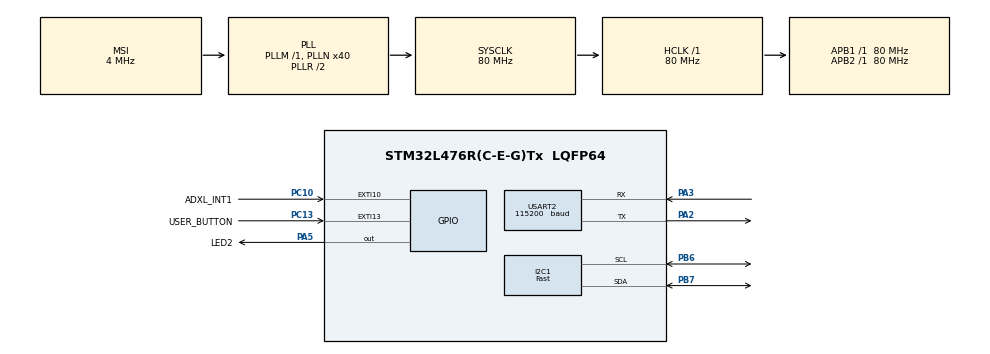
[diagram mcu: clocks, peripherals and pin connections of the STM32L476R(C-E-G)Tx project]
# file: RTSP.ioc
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Dma.I2C1_RX.0.Direction=DMA_PERIPH_TO_MEMORY
Dma.I2C1_RX.0.Instance=DMA1_Channel7
Dma.I2C1_RX.0.MemDataAlignment=DMA_MDATAALIGN_BYTE
Dma.I2C1_RX.0.MemInc=DMA_MINC_ENABLE
Dma.I2C1_RX.0.Mode=DMA_NORMAL
Dma.I2C1_RX.0.PeriphDataAlignment=DMA_PDATAALIGN_BYTE
Dma.I2C1_RX.0.PeriphInc=DMA_PINC_DISABLE
Dma.I2C1_RX.0.Priority=DMA_PRIORITY_LOW
Dma.Request0=I2C1_RX
I2C1.I2C_Speed_Mode=I2C_Fast
I2C1.Timing=0x00F12981
IWDG.Prescaler=IWDG_PRESCALER_32
Mcu.Family=STM32L4
Mcu.Name=STM32L476R(C-E-G)Tx
Mcu.Package=LQFP64
NVIC.DMA1_Channel7_IRQn=true\:4\:0\:true\:false\:true\:false\:true\:true
NVIC.EXTI15_10_IRQn=true\:5\:0\:true\:false\:true\:true\:true\:true
NVIC.I2C1_ER_IRQn=true\:1\:0\:true\:false\:true\:true\:true\:true
NVIC.I2C1_EV_IRQn=true\:2\:0\:true\:false\:true\:true\:true\:true
NVIC.PriorityGroup=NVIC_PRIORITYGROUP_4
PA13\ (JTMS-SWDIO).Mode=Serial_Wire
PA13\ (JTMS-SWDIO).Signal=SYS_JTMS-SWDIO
PA14\ (JTCK-SWCLK).Mode=Serial_Wire
PA14\ (JTCK-SWCLK).Signal=SYS_JTCK-SWCLK
PA2.Mode=Asynchronous
PA2.Signal=USART2_TX
PA3.Mode=Asynchronous
PA3.Signal=USART2_RX
PA5.GPIO_Label=LED2
PA5.Signal=GPIO_Output
PB6.GPIO_Pu=GPIO_PULLUP
PB6.Mode=I2C
PB6.Signal=I2C1_SCL
PB7.GPIO_Pu=GPIO_PULLUP
PB7.Mode=I2C
PB7.Signal=I2C1_SDA
PC10.GPIO_Label=ADXL_INT1
PC10.Signal=GPXTI10
PC13.GPIO_Label=USER_BUTTON
PC13.Signal=GPXTI13
ProjectManager.HeapSize=0x200
ProjectManager.StackSize=0x400
ProjectManager.TargetToolchain=STM32CubeIDE
RCC.AHBFreq_Value=80000000
RCC.APB1Freq_Value=80000000
RCC.APB1TimFreq_Value=80000000
RCC.APB2Freq_Value=80000000
RCC.APB2TimFreq_Value=80000000
RCC.CortexFreq_Value=80000000
RCC.HCLKFreq_Value=80000000
RCC.HSE_VALUE=8000000
RCC.HSI_VALUE=16000000
RCC.LSE_VALUE=32768
RCC.MSI_VALUE=4000000
RCC.PLLN=40
RCC.SYSCLKFreq_VALUE=80000000
RCC.SYSCLKSource=RCC_SYSCLKSOURCE_PLLCLK
RCC.VCOOutputFreq_Value=160000000
USART2.BaudRate=115200  
USART2.VirtualMode-Asynchronous=VM_ASYNC
VP_IWDG_VS_IWDG.Mode=IWDG_Activate
board=custom

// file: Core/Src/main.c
/* USER CODE BEGIN Header */
/**
  ******************************************************************************
  * @file           : main.c
  * @brief          : Main program body
  ******************************************************************************
  */
/* USER CODE END Header */
#include "main.h"
#include "dma.h"
#include "i2c.h"
#include "iwdg.h"
#include "usart.h"
#include "gpio.h"

/* USER CODE BEGIN Includes */
#include <stdio.h>
#include <adxl345.h>
#include <arm_math.h>
/* USER CODE END Includes */

/* USER CODE BEGIN PV */
uint8_t fft_full_flag = 0; // flag when data for FFT is ready
arm_rfft_fast_instance_f32 fftHandler;

float fft_out[FFT_BUFFER_SIZE];

typedef struct {
    uint16_t header;      	// 2 bytes
    uint16_t msg_id;      	// 2 byte
    uint16_t length;  		// 2 bytes
} __attribute__((packed)) packet_t;  // packed to avoid padding

/* USER CODE END PV */

void SystemClock_Config(void);

/* USER CODE BEGIN 0 */
/**
  * @brief  Function for handling external callbacks
  *
  */
void HAL_GPIO_EXTI_Callback(uint16_t pin)
{
	if(pin == ADXL_INT1_Pin){
		if (fifo_collecting) return; // avoid overlap
		CollectFifo();
	}
}

int __io_putchar(int ch)
{
    if (ch == '\n') {
        __io_putchar('\r');
    }
    HAL_UART_Transmit(&huart2, (uint8_t*)&ch, 1, HAL_MAX_DELAY);
    return 1;
}

/**
  * @brief  Calculate fft and send it with UART
  * We also apply Hann window and normalize.
  *
  */
void send_fft(void) {
    const uint32_t N = FFT_BUFFER_SIZE;
    float *bu = use_one ? z_array_1_fft : z_array_2_fft;

    // Optional: subtract mean (DC remove) and apply Hann window
    static float windowed[FFT_BUFFER_SIZE];
    float mean = 0.0f;
    for (uint32_t i = 0; i < N; ++i) mean += bu[i];
    mean /= (float)N;
    for (uint32_t i = 0; i < N; ++i) {
        // Hann window: w[n] = 0.5 * (1 - cos(2*pi*n/(N-1)))
        float w = 0.5f * (1.0f - cosf(2.0f * 3.14159265358979323846f * i / (N - 1)));
        windowed[i] = (bu[i] - mean) * w;
    }

    // Run real FFT in-place (input -> fft_out)
    arm_rfft_fast_f32(&fftHandler, windowed, fft_out, 0);

    // calculate number of unique bins
    const uint32_t nbins = (N / 2) + 1;
    static float fft_mag[(FFT_BUFFER_SIZE/2) + 1];

    fft_mag[0] = fabsf(fft_out[0]);

    // k = N/2 (Nyquist) : real = out[1]
    fft_mag[nbins - 1] = fabsf(fft_out[1]);

    // k = 1 .. N/2 - 1 : packed as (real, imag) starting at index 2
    for (uint32_t k = 1; k < (N / 2); ++k) {
        float re = fft_out[2 * k];
        float im = fft_out[2 * k + 1];
        fft_mag[k] = sqrtf(re * re + im * im);
    }

    // Normalize to get amplitude (single-sided):
    for (uint32_t k = 0; k < nbins; ++k) {
        fft_mag[k] /= (float)N; // scale
        if (k != 0 && k != (nbins - 1)) fft_mag[k] *= 2.0f;
    }

    // Prepare header: length is number of floats (nbins)
    packet_t hdr;
    hdr.header = 0x6969;
    hdr.msg_id = 1; // FFT
    hdr.length = (uint16_t)nbins; // 257 for 512-point FFT

    // Send header then data
    HAL_UART_Transmit(&huart2, (uint8_t*)&hdr, sizeof(hdr), HAL_MAX_DELAY);
    HAL_UART_Transmit(&huart2, (uint8_t*)fft_mag, hdr.length * sizeof(float), HAL_MAX_DELAY);
}

/**
  * @brief  Send data in time domain with UART
  *
  */
void send_time_domain(void){
    float *data = use_one ? z_array_1_timeD: z_array_2_timeD;  // max size, adjust as needed
    // Prepare header
    packet_t hdr;
    hdr.header = 0x6969;
    hdr.msg_id = 2;
    hdr.length = FFT_BUFFER_SIZE;

    // Send header
    HAL_UART_Transmit(&huart2, (uint8_t*)&hdr, sizeof(hdr), HAL_MAX_DELAY);

    // Send data
    HAL_UART_Transmit(&huart2, (uint8_t*)data, hdr.length * 4, HAL_MAX_DELAY);
}

/* USER CODE END 0 */

int main(void)
{

  /* MCU Configuration--------------------------------------------------------*/

  /* Reset of all peripherals, Initializes the Flash interface and the Systick. */
  HAL_Init();

  /* Configure the system clock */
  SystemClock_Config();

  /* Initialize all configured peripherals */
  MX_GPIO_Init();
  MX_DMA_Init();
  MX_I2C1_Init();
  MX_USART2_UART_Init();
  MX_IWDG_Init();
  /* USER CODE BEGIN 2 */
  for (uint8_t i = 0; i < 4; i++) {
    HAL_GPIO_TogglePin(LED2_GPIO_Port, LED2_Pin);
    HAL_Delay(100);
  }

  printf("Searching...\n");
  if (adxl345_init() == HAL_OK) {
	  printf("OK: ADXL345\n");
  } else {
	  printf("Error: ADXL345 not found\n");
  }

  arm_rfft_fast_init_f32(&fftHandler, FFT_BUFFER_SIZE);
  /* USER CODE END 2 */

  /* Infinite loop */
  /* USER CODE BEGIN WHILE */
  while (1)
  {
	  if (fft_full_flag == 1){
		  HAL_IWDG_Refresh(&hiwdg);
		  send_fft();
		  send_time_domain();
		  fft_full_flag = 0;
		  use_one ^= 1; // Change to point to other z_arrays
	  }
    /* USER CODE END WHILE */

  }
}

void SystemClock_Config(void)
{
  RCC_OscInitTypeDef RCC_OscInitStruct = {0};
  RCC_ClkInitTypeDef RCC_ClkInitStruct = {0};

  /** Configure the main internal regulator output voltage
  */
  if (HAL_PWREx_ControlVoltageScaling(PWR_REGULATOR_VOLTAGE_SCALE1) != HAL_OK)
  {
    Error_Handler();
  }

  /** Initializes the RCC Oscillators according to the specified parameters
  * in the RCC_OscInitTypeDef structure.
  */
  RCC_OscInitStruct.OscillatorType = RCC_OSCILLATORTYPE_LSI|RCC_OSCILLATORTYPE_MSI;
  RCC_OscInitStruct.LSIState = RCC_LSI_ON;
  RCC_OscInitStruct.MSIState = RCC_MSI_ON;
  RCC_OscInitStruct.MSICalibrationValue = 0;
  RCC_OscInitStruct.MSIClockRange = RCC_MSIRANGE_6;
  RCC_OscInitStruct.PLL.PLLState = RCC_PLL_ON;
  RCC_OscInitStruct.PLL.PLLSource = RCC_PLLSOURCE_MSI;
  RCC_OscInitStruct.PLL.PLLM = 1;
  RCC_OscInitStruct.PLL.PLLN = 40;
  RCC_OscInitStruct.PLL.PLLP = RCC_PLLP_DIV7;
  RCC_OscInitStruct.PLL.PLLQ = RCC_PLLQ_DIV2;
  RCC_OscInitStruct.PLL.PLLR = RCC_PLLR_DIV2;
  if (HAL_RCC_OscConfig(&RCC_OscInitStruct) != HAL_OK)
  {
    Error_Handler();
  }

  /** Initializes the CPU, AHB and APB buses clocks
  */
  RCC_ClkInitStruct.ClockType = RCC_CLOCKTYPE_HCLK|RCC_CLOCKTYPE_SYSCLK
                              |RCC_CLOCKTYPE_PCLK1|RCC_CLOCKTYPE_PCLK2;
  RCC_ClkInitStruct.SYSCLKSource = RCC_SYSCLKSOURCE_PLLCLK;
  RCC_ClkInitStruct.AHBCLKDivider = RCC_SYSCLK_DIV1;
  RCC_ClkInitStruct.APB1CLKDivider = RCC_HCLK_DIV1;
  RCC_ClkInitStruct.APB2CLKDivider = RCC_HCLK_DIV1;

  if (HAL_RCC_ClockConfig(&RCC_ClkInitStruct, FLASH_LATENCY_4) != HAL_OK)
  {
    Error_Handler();
  }
}

void Error_Handler(void)
{
    __disable_irq();
    while (1) {}
}
#ifdef USE_FULL_ASSERT
/**
  * @brief  Reports the name of the source file and the source line number
  *         where the assert_param error has occurred.
  * @param  file: pointer to the source file name
  * @param  line: assert_param error line source number
  * @retval None
  */
void assert_failed(uint8_t *file, uint32_t line)
{
  /* USER CODE BEGIN 6 */
    /* Optional: report the file and line number */
  /* USER CODE END 6 */
}
#endif /* USE_FULL_ASSERT */
